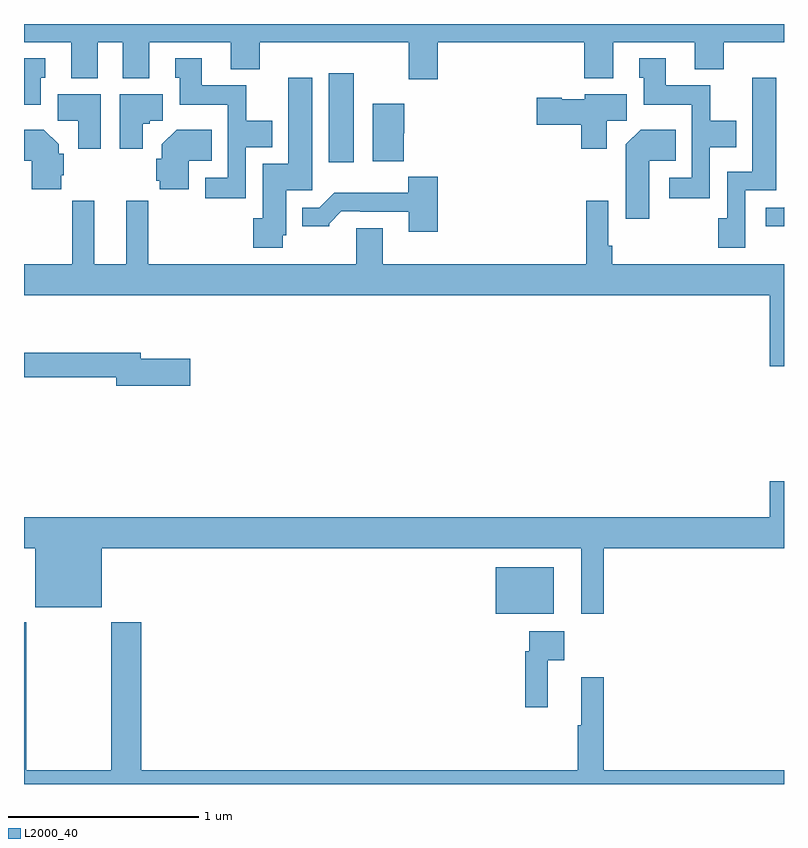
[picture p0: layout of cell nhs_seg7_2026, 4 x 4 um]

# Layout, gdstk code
import gdstk
lib = gdstk.Library(unit=1e-6, precision=1e-09)
def R(c, l, rs):  # rectangles x0, y0, x1, y1
    for r in rs: c.add(gdstk.rectangle(r[:2], r[2:], *l))
def P(c, l, *ps):  # polygons
    for p in ps: c.add(gdstk.Polygon(p, *l))
L2000_40 = (2000, 40)

nhs_seg7_2026 = lib.new_cell('nhs_seg7_2026')
R(nhs_seg7_2026, L2000_40, [(247.484,1042.895,247.789,1043.14), (246.605,1045.272,246.736,1045.741)])
P(nhs_seg7_2026, L2000_40, [(245,1045.904),(245.249,1045.904),(245.249,1045.715),(245.389,1045.715),(245.389,1045.904),(245.519,1045.904),(245.519,1045.715),(245.659,1045.715),(245.659,1045.904),(246.089,1045.904),(246.089,1045.763),(246.242,1045.763),(246.242,1045.904),(247.025,1045.904),(247.025,1045.71),(247.178,1045.71),(247.178,1045.904),(247.949,1045.904),(247.949,1045.715),(248.101,1045.715),(248.101,1045.904),(248.531,1045.904),(248.531,1045.763),(248.684,1045.763),(248.684,1045.904),(249,1045.904),(249,1046),(245,1046)],
  [(248.61,1045.352),(248.749,1045.352),(248.749,1045.492),(248.613,1045.492),(248.613,1045.678),(248.377,1045.678),(248.377,1045.819),(248.237,1045.819),(248.237,1045.716),(248.261,1045.716),(248.261,1045.574),(248.514,1045.574),(248.514,1045.191),(248.397,1045.191),(248.397,1045.083),(248.61,1045.083)],
  [(246.168,1045.352),(246.307,1045.352),(246.307,1045.492),(246.171,1045.492),(246.171,1045.678),(245.935,1045.678),(245.935,1045.819),(245.795,1045.819),(245.795,1045.716),(245.819,1045.716),(245.819,1045.574),(246.072,1045.574),(246.072,1045.191),(245.955,1045.191),(245.955,1045.083),(246.168,1045.083)],
  [(245.089,1045.716),(245.113,1045.716),(245.113,1045.819),(245,1045.819),(245,1045.574),(245.089,1045.574)],
  [(246.363,1044.888),(246.379,1044.888),(246.379,1045.125),(246.517,1045.125),(246.517,1045.717),(246.392,1045.717),(246.392,1045.264),(246.257,1045.264),(246.257,1044.978),(246.206,1044.978),(246.206,1044.822),(246.363,1044.822)],
  [(248.796,1045.125),(248.959,1045.125),(248.959,1045.717),(248.834,1045.717),(248.834,1045.222),(248.7,1045.222),(248.7,1044.978),(248.653,1044.978),(248.653,1044.822),(248.796,1044.822)],
  [(245.404,1045.63),(245.177,1045.63),(245.177,1045.492),(245.285,1045.492),(245.285,1045.344),(245.404,1045.344)],
  [(248.068,1045.492),(248.173,1045.492),(248.173,1045.63),(247.95,1045.63),(247.95,1045.603),(247.83,1045.603),(247.83,1045.611),(247.698,1045.611),(247.698,1045.469),(247.934,1045.469),(247.934,1045.344),(248.068,1045.344)],
  [(245.626,1045.474),(245.661,1045.474),(245.661,1045.492),(245.731,1045.492),(245.731,1045.63),(245.504,1045.63),(245.504,1045.344),(245.626,1045.344)],
  [(246.998,1045.425),(247,1045.425),(247,1045.579),(246.836,1045.579),(246.836,1045.277),(246.998,1045.277)],
  [(245.195,1045.203),(245.208,1045.203),(245.208,1045.317),(245.182,1045.317),(245.182,1045.366),(245.104,1045.444),(245,1045.444),(245,1045.28),(245.042,1045.28),(245.042,1045.13),(245.195,1045.13)],
  [(245.866,1045.28),(245.987,1045.28),(245.987,1045.444),(245.804,1045.444),(245.726,1045.366),(245.726,1045.29),(245.696,1045.29),(245.696,1045.176),(245.714,1045.176),(245.714,1045.13),(245.866,1045.13)],
  [(248.29,1045.28),(248.429,1045.28),(248.429,1045.444),(248.246,1045.444),(248.168,1045.366),(248.168,1044.975),(248.29,1044.975)],
  [(247.178,1045.195),(247.023,1045.195),(247.023,1045.111),(246.634,1045.111),(246.555,1045.032),(246.464,1045.032),(246.464,1044.935),(246.606,1044.935),(246.606,1044.95),(246.67,1045.014),(246.769,1045.014),(246.769,1045.011),(247.025,1045.011),(247.025,1044.906),(247.178,1044.906)],
  [(249,1044.736),(248.096,1044.736),(248.096,1044.832),(248.076,1044.832),(248.076,1045.069),(247.96,1045.069),(247.96,1044.736),(246.889,1044.736),(246.889,1044.926),(246.749,1044.926),(246.749,1044.736),(245.654,1044.736),(245.654,1045.069),(245.537,1045.069),(245.537,1044.736),(245.371,1044.736),(245.371,1045.069),(245.254,1045.069),(245.254,1044.736),(245,1044.736),(245,1044.572),(248.924,1044.572),(248.924,1044.198),(249,1044.198)],
  [(249,1045.035),(248.997,1045.032),(248.904,1045.032),(248.904,1044.935),(249,1044.935)],
  [(245.875,1044.237),(245.614,1044.237),(245.614,1044.271),(245,1044.271),(245,1044.142),(245.486,1044.142),(245.486,1044.095),(245.875,1044.095)],
  [(249,1043.593),(248.924,1043.593),(248.924,1043.404),(245,1043.404),(245,1043.24),(245.06,1043.24),(245.06,1042.931),(245.41,1042.931),(245.41,1043.24),(247.934,1043.24),(247.934,1042.896),(248.051,1042.896),(248.051,1043.24),(249,1043.24)],
  [(245.458,1042.072),(245.013,1042.072),(245.013,1042.852),(245,1042.852),(245,1042),(249,1042),(249,1042.072),(248.051,1042.072),(248.051,1042.561),(247.934,1042.561),(247.934,1042.308),(247.915,1042.308),(247.915,1042.072),(245.618,1042.072),(245.618,1042.852),(245.458,1042.852)],
  [(247.757,1042.652),(247.843,1042.652),(247.843,1042.804),(247.659,1042.804),(247.659,1042.7),(247.639,1042.7),(247.639,1042.404),(247.757,1042.404)])

lib.write_gds('nhs_seg7_2026.gds')
